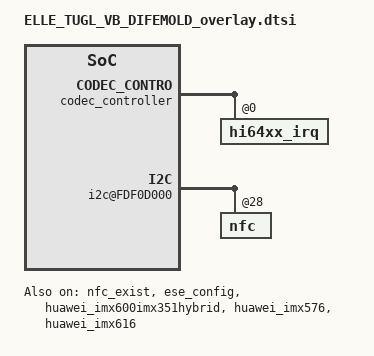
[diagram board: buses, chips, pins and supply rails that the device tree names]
/**
 * Copyright (C) 2014 Hisilicon Ltd.
 *
 *  This program is free software; you can redistribute it and/or modify
 *  it under the terms of the GNU General Public License version 2 as
 *  publishhed by the Free Software Foundation.
 */

/include/ "ELLE_LX9_VA_DPDT_overlay.dtsi"

/ {
    board_id = <8483>;
};
    &rootparam{
		compatible = "hisilicon,vendor";
		hisi,boardid = <8 4 8 3>;
		hisi,boardname = "ELLE_TUGL_VB_DIFEMOLD";
		hisi,modem_id = <0x37040C00>;
		hisi,product_id = <0x37040C00>;
		hisi,product_name = "ELE-AL00";
	};
	&codec_controller {
		hi64xx_irq@0{
				hi6405_codec@0 {
						hisilicon,wakeup_hisi_algo_support = <1>;
				};
		};
	};

	&dp_aux_switch {
		cs-gpios = <&gpio17 1 0>, <&gpio26 0 0>;
	};

	&huawei_lcd_panel{
		product_id = <5001>;
		gpio_id = <16 231>; /*ID0 ID1*/
	};
   &amba {
       i2c@FDF0D000 {
           nfc@28 {
               clk_status ="pmu_hi6421v700";
           };
       };
   };

   &nfc_exist {
	nfc_ese_spi_det = "1";
	hisee_exist_flag = "1";
	status = "ok";
   };

   &ese_config {
        nfc_ese_num_dts = <2>;
        spi_bus = <1>;
        gpio_spi_cs = <10>;
        gpio_ese_irq = <0>;
        gpio_ese_reset = <0>;
        svdd_pwr_req_need = <1>;
        gpio_svdd_pwr_req = <264>;
        spi_switch_need = <0>;
        gpio_spi_switch = <0>;
        status = "ok";
    };

   /*hisi customize*/
    &hisi_cust_cfg {
        ini_file_name = "/vendor/etc/cfg_elle_tugl_v1.ini";
    };

	&audio_hw_config {
		audio_capability {
			/*
				use hisilicon wakeup engine.
				true: use hisilicon wakeup engine.
				false: DO NOT use hisilicon wakeup engine.
			*/
			wakeup_hisiengine = "true";
		};
	};

   &sensorhub{
       sar{
           sar1{
               status = "disabled";
           };
           sar2{
               status = "disabled";
           };
       };
              	rpc{
                       rpc{
                                compatible = "huawei,rpc";
                                file_id = <0x18>;
                                sensor_list_info_id = <24>;
                                sensor_type = "rpc";
                                sensorlist_name = "rpc";
                                mask = <0xFFFF 0x200 0x200 0xFFFF 0xFFFF 0xFFFF 0xFFFF 0xFFFF
                                        0xFFFF 0xFFFF 0xFFFF 0xFFFF 0xFFFF 0xFFFF 0xFFFF 0xFFFF
                                        0xFFFF 0xFFFF 0xFFFF 0xFFFF 0xFFFF 0xFFFF 0xFFFF 0xFFFF
                                        0xFFFF 0xFFFF 0xFFFF 0xFFFF 0xFFFF 0xFFFF 0xFFFF 0xFFFF>;
                                table = <0xFFFF 0x200 0x0 0xFFFF 0xFFFF 0xFFFF 0xFFFF 0xFFFF
                                         0xFFFF 0xFFFF 0xFFFF 0xFFFF 0xFFFF 0xFFFF 0xFFFF 0xFFFF
                                         0xFFFF 0xFFFF 0xFFFF 0xFFFF 0xFFFF 0xFFFF 0xFFFF 0xFFFF
                                         0xFFFF 0xFFFF 0xFFFF 0xFFFF 0xFFFF 0xFFFF 0xFFFF 0xFFFF>;
								mask_enable = <0x0200>;
								default_value = <0x1D>;
                                status = "ok";
						};
				};
   };

	&huawei_imx600imx351hybrid {
		compatible = "huawei,sensor";
		huawei,sensor_name = "IMX600IMX351HYBRID";
		huawei,sensor_index = <0>;
		huawei,is_fpga = <0>;
		huawei,pd_valid = <1>;
		huawei,reset_valid = <1>;
		huawei,vcmpd_valid = <0>;
		huawei,csi_index = <0 2>;
		huawei,i2c_index = <0 2>;
		/*cdphy-csi2*/
		huawei,phyinfo_valid = <2>;
		huawei,is_master_sensor = <1 0>;
		huawei,phy_id = <0 2>;
		huawei,phy_mode = <1 0>;
		huawei,phy_freq_mode = <1 0>;
		huawei,phy_freq = <80000000 80000000>;
		huawei,phy_work_mode = <0 0>;
		clocks = <&clk_gate_rxdphy0_cfg &clk_gate_rxdphy2_cfg &clk_gate_isp_snclk0 &clk_gate_isp_snclk2>;
		clock-names = "clk_rxdphy0_cfg", "clk_rxdphy2_cfg", "clk_isp_snclk0", "clk_isp_snclk2";
		huawei,phyclk = <80000000>;
		phy-clock-num = <2>;
		huawei,mclk = <19200000>;
		dvdd-supply = <&ldo32>;
		iovdd-supply = <&ldo21>;
		dvdd2-supply = <&ldo22>;
		huawei,ldo-names = "dvdd", "iovdd", "dvdd2";

		gpios = <&gpio1 4 0 &gpio6 4 0 &gpio31 2 0>;
		huawei,gpio-ctrl-types = "reset", "reset2", "vcm_pwdn";

		huawei,cam-power-seq-type = "sensor_pmic", "sensor_pmic", "sensor_pmic", "sensor_pmic",
		"sensor_dvdd", "sensor_dvdd2", "sensor_vcm_pwdn", "sensor_iovdd",
		"sensor_mclk", "sensor_mclk",
		"sensor_rst", "sensor_rst2";
		huawei,cam-power-seq-cfg-val = <2850000 2800000 2800000 1800000 1100000 1140000 0 1800000 0 0 0 0>;
		huawei,cam-power-seq-val = <5 0 1 2 0xFF 0xFF 0xFF 0xFF 0xFF 0xFF 0xFF 0xFF>;
		huawei,cam-power-seq-sensor-index = <0xFF 0xFF 0xFF 0xFF 0xFF 0xFF 0xFF 0xFF 0 2 0xFF 0xFF>;
		huawei,cam-power-seq-delay = <0 0 0 0 0 0 1 0 1 1 1 1>;

		huawei,cam-power-down-seq-type ="sensor_rst2", "sensor_rst", "sensor_mclk", "sensor_mclk",
		"sensor_iovdd", "sensor_vcm_pwdn", "sensor_dvdd2", "sensor_dvdd",
		"sensor_pmic", "sensor_pmic",
		"sensor_pmic", "sensor_pmic";
		huawei,cam-power-down-seq-cfg-val = <0 0 0 0 1800000 0 1140000 1100000 1800000 2800000 2800000 2850000>;
		huawei,cam-power-down-seq-val = <0xFF 0xFF 0xFF 0xFF 0xFF 0xFF 0xFF 0xFF 2 1 0 5>;
		huawei,cam-power-down-seq-sensor-index = <0xFF 0xFF 2 0 0xFF 0xFF 0xFF 0xFF 0xFF 0xFF 0xFF 0xFF>;
		huawei,cam-power-down-seq-delay = <1 1 1 1 0 1 0 0 0 0 0 0>;

		status = "ok";
	};

	&huawei_imx576 {
		compatible = "huawei,sensor";
		huawei,sensor_name = "IMX576";
		huawei,is_fpga = <0>;
		huawei,pd_valid = <1>;
		huawei,sensor_index = <1>;
		huawei,csi_index = <0>;
		huawei,i2c_index = <1>;
		huawei,reset_valid = <1>;
		/*cdphy-csi2*/
		huawei,phyinfo_valid = <1>;
		huawei,is_master_sensor = <1>;
		huawei,phy_id = <1>;
		huawei,phy_mode = <0>;
		huawei,phy_freq_mode = <0>;
		huawei,phy_freq = <80000000>;
		huawei,phy_work_mode = <0>;
		clocks = <&clk_gate_isp_snclk0 &clk_gate_rxdphy0_cfg &clk_gate_rxdphy1_cfg &clk_gate_rxdphy2_cfg &clk_gate_rxdphy3_cfg>;
		clock-names = "clk_isp_snclk0", "clk_rxdphy0_cfg", "clk_rxdphy1_cfg", "clk_rxdphy2_cfg", "clk_rxdphy3_cfg";
		huawei,mclk = <19200000>;
		huawei,rxdphyclk = <80000000>;
		huawei,phyclk = <80000000>;
		phy-clock-num = <4>;
		huawei,vcmpd_valid = <0>;
		dvdd-supply = <&ldo32>;
		iovdd-supply = <&ldo21>;
		huawei,ldo-names = "dvdd", "iovdd";

		gpios = < &gpio2 1 0>;
		huawei,gpio-ctrl-types = "reset";

		huawei,cam-power-seq-type = "sensor_iovdd", "sensor_pmic", "sensor_dvdd",
		"sensor_mclk", "sensor_rst";
		huawei,cam-power-seq-cfg-val = <1800000 2800000 1140000 0 0>;
		huawei,cam-power-seq-val = <0xFF 3 0xFF 0xFF 0xFF>;
		huawei,cam-power-seq-sensor-index = <0xFF 0xFF 0xFF 1 0xFF>;
		huawei,cam-power-seq-delay = <0 0 0 1 1>;

		huawei,cam-power-down-seq-type ="sensor_rst", "sensor_mclk", "sensor_dvdd",
		"sensor_pmic", "sensor_iovdd";
		huawei,cam-power-down-seq-cfg-val = <0 0 1140000 2800000 1800000>;
		huawei,cam-power-down-seq-val = <0xFF 0xFF 0xFF 3 0xFF>;
		huawei,cam-power-down-seq-sensor-index = <0xFF 1 0xFF 0xFF 0xFF>;
		huawei,cam-power-down-seq-delay = <1 1 0 0 0>;

		status = "ok";
	};

    &huawei_imx616 {
		compatible = "huawei,sensor";
		huawei,sensor_name = "IMX616";
		huawei,is_fpga = <0>;
		huawei,pd_valid = <1>;
		huawei,sensor_index = <1>;
		huawei,csi_index = <0>;
		huawei,i2c_index = <1>;
		huawei,reset_valid = <1>;
		/*cdphy-csi2*/
		huawei,phyinfo_valid = <1>;
		huawei,is_master_sensor = <1>;
		huawei,phy_id = <1>;
		huawei,phy_mode = <0>;
		huawei,phy_freq_mode = <0>;
		huawei,phy_freq = <80000000>;
		huawei,phy_work_mode = <0>;
		clocks = <&clk_gate_isp_snclk0 &clk_gate_rxdphy0_cfg &clk_gate_rxdphy1_cfg &clk_gate_rxdphy2_cfg &clk_gate_rxdphy3_cfg>;
		clock-names = "clk_isp_snclk0", "clk_rxdphy0_cfg", "clk_rxdphy1_cfg", "clk_rxdphy2_cfg", "clk_rxdphy3_cfg";
		huawei,mclk = <19200000>;
		huawei,rxdphyclk = <80000000>;
		huawei,phyclk = <80000000>;
		phy-clock-num = <4>;
		huawei,vcmpd_valid = <0>;
		dvdd-supply = <&ldo32>;
		iovdd-supply = <&ldo21>;
		huawei,ldo-names = "dvdd", "iovdd";

		gpios = < &gpio2 1 0>;
		huawei,gpio-ctrl-types = "reset";

		huawei,cam-power-seq-type = "sensor_iovdd", "sensor_pmic", "sensor_dvdd",
		"sensor_mclk", "sensor_rst";
		huawei,cam-power-seq-cfg-val = <1800000 2900000 1140000 0 0>;
		huawei,cam-power-seq-val = <0xFF 3 0xFF 0xFF 0xFF>;
		huawei,cam-power-seq-sensor-index = <0xFF 0xFF 0xFF 1 0xFF>;
		huawei,cam-power-seq-delay = <0 0 0 1 1>;

		huawei,cam-power-down-seq-type ="sensor_rst", "sensor_mclk", "sensor_dvdd",
		"sensor_pmic", "sensor_iovdd";
		huawei,cam-power-down-seq-cfg-val = <0 0 1140000 2900000 1800000>;
		huawei,cam-power-down-seq-val = <0xFF 0xFF 0xFF 3 0xFF>;
		huawei,cam-power-down-seq-sensor-index = <0xFF 1 0xFF 0xFF 0xFF>;
		huawei,cam-power-down-seq-delay = <1 1 0 0 0>;

		status = "ok";
	};
